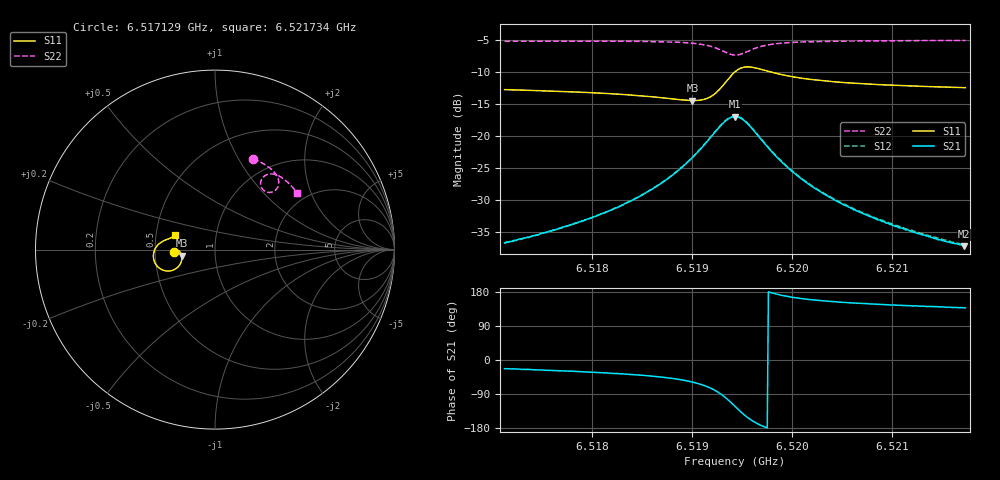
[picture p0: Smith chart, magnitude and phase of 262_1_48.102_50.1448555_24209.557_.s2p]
#  HZ  S  RI  R  50.00
! Rohde & Schwarz Vector Network Analyzer
! Rohde-Schwarz,ZNB20-2Port,1311601062101988,3.16
! Created: UTC 12/23/2023, 4:00:51 AM
! freq[Hz]  re:S11  im:S11  re:S21  im:S21  re:S12  im:S12  re:S22  im:S22
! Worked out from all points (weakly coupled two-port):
!   401 points, 6.517129 GHz to 6.521734 GHz, reference 50 ohm
!   highest |S21| = -16.97 dB at 6.519431 GHz (marker M1); lowest = -37.2 dB at 6.521722 GHz (marker M2)
!   lowest |S11| = -14.5 dB at 6.519005 GHz (marker M3), VSWR 1.47, Z = 34.3 - j2.34 ohm
!   |S11| at or under -10 dB: start of sweep to 6.519431 GHz; 6.519783 GHz to end of sweep
!   |S22| runs from -7.4 to -5.1 dB; largest |S21 - S12| = 0.0044
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6.517129e9  -0.2293 -0.0143  0.0135 -0.00574  0.0135 -0.00526  0.2125 0.506
6.5174513e9  -0.2257 -0.00979  0.0151 -0.00742  0.0154 -0.00683  0.2361 0.4954
6.5179003e9  -0.2191 -0.00462  0.0186 -0.0111  0.0189 -0.0105  0.2692 0.4784
6.5182916e9  -0.2111 -0.00317  0.0229 -0.017  0.0235 -0.0162  0.2986 0.4594
6.5186715e9  -0.1994 -0.00851  0.0297 -0.0291  0.0308 -0.0282  0.328 0.4339
6.5188557e9  -0.1918 -0.0176  0.0337 -0.041  0.0351 -0.0402  0.3423 0.4157
6.5190054e9  -0.1859 -0.0329  0.0357 -0.0575  0.0376 -0.0568  0.3521 0.3948
6.519109e9  -0.1849 -0.0513  0.0335 -0.0754  0.0361 -0.075  0.3555 0.3744
6.5192011e9  -0.191 -0.0751  0.0243 -0.0973  0.0274 -0.0974  0.3513 0.3515
6.5193392e9  -0.2368 -0.1157  -0.0228 -0.1294  -0.0192 -0.1311  0.3155 0.3197
6.5194313e9  -0.2961 -0.1117  -0.0756 -0.1198  -0.0729 -0.123  0.2742 0.3278
6.5194773e9  -0.3218 -0.0926  -0.0963 -0.1003  -0.0942 -0.1038  0.2598 0.3444
6.5195349e9  -0.3398 -0.0603  -0.1088 -0.0701  -0.1078 -0.0739  0.254 0.3696
6.519627e9  -0.3404 -0.0132  -0.104 -0.0297  -0.1041 -0.0331  0.2662 0.4009
6.5197306e9  -0.3239 0.0191  -0.0863 -0.00466  -0.0871 -0.00712  0.2894 0.4172
6.5199608e9  -0.2902 0.0468  -0.055 0.0123  -0.056 0.0108  0.3312 0.4192
6.5202026e9  -0.2694 0.056  -0.0375 0.0145  -0.0384 0.0136  0.3601 0.408
6.5205709e9  -0.2515 0.0631  -0.0242 0.0134  -0.0251 0.0128  0.3911 0.387
6.5209738e9  -0.2394 0.0689  -0.0168 0.0116  -0.0176 0.0114  0.4174 0.363
6.5214458e9  -0.2296 0.0752  -0.0122 0.0099  -0.0127 0.00984  0.4432 0.3343
6.5217221e9  -0.2249 0.0789  -0.0102 0.00925  -0.0106 0.0091  0.4568 0.317
6.5217336e9  -0.2246 0.0791  -0.0102 0.00933  -0.0107 0.00917  0.4573 0.3163
